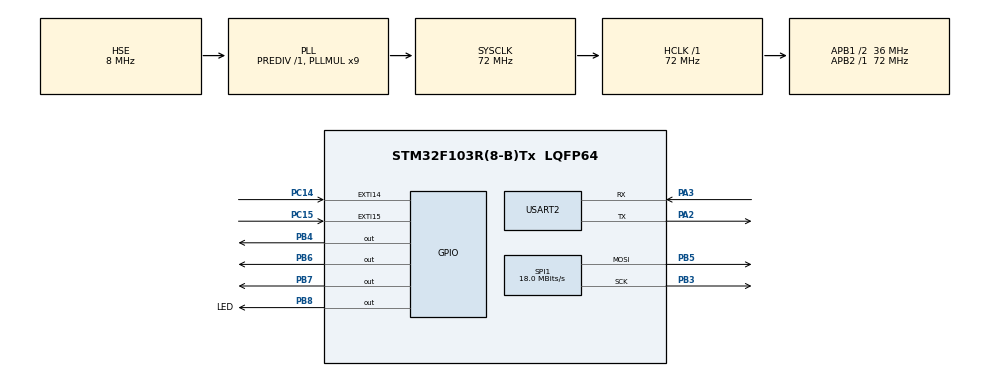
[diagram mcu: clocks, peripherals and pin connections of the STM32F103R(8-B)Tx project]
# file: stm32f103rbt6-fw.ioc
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Mcu.Family=STM32F1
Mcu.Name=STM32F103R(8-B)Tx
Mcu.Package=LQFP64
NVIC.EXTI15_10_IRQn=true\:0\:0\:false\:false\:true\:true\:true\:true
NVIC.PriorityGroup=NVIC_PRIORITYGROUP_4
PA13.Mode=Serial_Wire
PA13.Signal=SYS_JTMS-SWDIO
PA14.Mode=Serial_Wire
PA14.Signal=SYS_JTCK-SWCLK
PA2.Mode=Asynchronous
PA2.Signal=USART2_TX
PA3.Mode=Asynchronous
PA3.Signal=USART2_RX
PB3.Mode=TX_Only_Simplex_Unidirect_Master
PB3.Signal=SPI1_SCK
PB4.Signal=GPIO_Output
PB5.Mode=TX_Only_Simplex_Unidirect_Master
PB5.Signal=SPI1_MOSI
PB6.Signal=GPIO_Output
PB7.Signal=GPIO_Output
PB8.GPIO_Label=LED
PB8.Signal=GPIO_Output
PC14-OSC32_IN.GPIO_ModeDefaultEXTI=GPIO_MODE_IT_FALLING
PC14-OSC32_IN.GPIO_PuPd=GPIO_PULLUP
PC14-OSC32_IN.Signal=GPXTI14
PC15-OSC32_OUT.GPIO_ModeDefaultEXTI=GPIO_MODE_IT_FALLING
PC15-OSC32_OUT.GPIO_PuPd=GPIO_PULLUP
PC15-OSC32_OUT.Signal=GPXTI15
PD0-OSC_IN.Mode=HSE-External-Oscillator
PD0-OSC_IN.Signal=RCC_OSC_IN
PD1-OSC_OUT.Mode=HSE-External-Oscillator
PD1-OSC_OUT.Signal=RCC_OSC_OUT
ProjectManager.HeapSize=0x200
ProjectManager.StackSize=0x400
ProjectManager.TargetToolchain=Makefile
RCC.AHBFreq_Value=72000000
RCC.APB1CLKDivider=RCC_HCLK_DIV2
RCC.APB1Freq_Value=36000000
RCC.APB1TimFreq_Value=72000000
RCC.APB2Freq_Value=72000000
RCC.APB2TimFreq_Value=72000000
RCC.HCLKFreq_Value=72000000
RCC.PLLMUL=RCC_PLL_MUL9
RCC.PLLSourceVirtual=RCC_PLLSOURCE_HSE
RCC.SYSCLKFreq_VALUE=72000000
RCC.SYSCLKSource=RCC_SYSCLKSOURCE_PLLCLK
RCC.USBFreq_Value=72000000
SPI1.BaudRatePrescaler=SPI_BAUDRATEPRESCALER_4
SPI1.CalculateBaudRate=18.0 MBits/s
SPI1.Direction=SPI_DIRECTION_2LINES
SPI1.Mode=SPI_MODE_MASTER
SPI1.VirtualType=VM_MASTER
USART2.VirtualMode=VM_ASYNC
board=custom

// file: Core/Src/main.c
/* USER CODE BEGIN Header */
/**
 ******************************************************************************
 * @file           : main.c
 * @brief          : Main program body
 ******************************************************************************
 * @attention
 *
 * Copyright (c) 2023 STMicroelectronics.
 * All rights reserved.
 *
 * This software is licensed under terms that can be found in the LICENSE file
 * in the root directory of this software component.
 * If no LICENSE file comes with this software, it is provided AS-IS.
 *
 ******************************************************************************
 */
/* USER CODE END Header */
#include "main.h"

/* USER CODE BEGIN Includes */
#include <stdio.h>
#include <stdarg.h>
/* USER CODE END Includes */

SPI_HandleTypeDef hspi1;

UART_HandleTypeDef huart2;

/* USER CODE BEGIN PV */
uint8_t g_bKeyValue = 0;
/* USER CODE END PV */

void SystemClock_Config(void);
static void MX_GPIO_Init(void);
static void MX_USART2_UART_Init(void);
static void MX_SPI1_Init(void);

/* USER CODE BEGIN 0 */
int _write(int fd, char *ch, int len)
{
  HAL_UART_Transmit(&huart2, (uint8_t *)ch, len, 0xFFFF);
  return len;
}

int u_printf(const char *format, ...)
{
	char loc_buf[256];
	va_list arg;
	va_list copy;
	va_start(arg, format);
	va_copy(copy, arg);
	int len = vsnprintf(loc_buf, sizeof(loc_buf), format, copy);
	va_end(copy);
	va_end(arg);

	if (len > 0 && len <= 256)
	{
		HAL_UART_Transmit(&huart2, (uint8_t *)loc_buf, len, 0xFF);
	}
	return len;
}

#include "key.h"
#include "bmp.h"
#include "oled.h"
#include "stdlib.h"
#include "oledfont.h"
// OLED的显存
// 存放格式如下.
//[0]0 1 2 3 ... 127
//[1]0 1 2 3 ... 127
//[2]0 1 2 3 ... 127
//[3]0 1 2 3 ... 127
//[4]0 1 2 3 ... 127
//[5]0 1 2 3 ... 127
//[6]0 1 2 3 ... 127
//[7]0 1 2 3 ... 127

#if OLED_MODE == 1
// 向SSD1106写入一个字节。
// dat:要写入的数据/命令
// cmd:数据/命令标志 0,表示命令;1,表示数据;
void OLED_WR_Byte(u8 dat, u8 cmd)
{
  DATAOUT(dat);
  if (cmd)
    OLED_DC_Set();
  else
    OLED_DC_Clr();
  OLED_CS_Clr();
  OLED_WR_Clr();
  OLED_WR_Set();
  OLED_CS_Set();
  OLED_DC_Set();
}
#else
// 向SSD1106写入一个字节。
// dat:要写入的数据/命令
// cmd:数据/命令标志 0,表示命令;1,表示数据;
void OLED_WR_Byte(u8 dat, u8 cmd)
{
  if (cmd)
    OLED_DC_Set();
  else
    OLED_DC_Clr();
  OLED_CS_Clr();
  HAL_SPI_Transmit(&hspi1, &dat, 1, 0xFF);
//  for (u8 i = 0; i < 8; i++)
//  {
//    OLED_SCLK_Clr();
//    if (dat & 0x80)
//      OLED_SDIN_Set();
//    else
//      OLED_SDIN_Clr();
//    OLED_SCLK_Set();
//    dat <<= 1;
//  }
  OLED_CS_Set();
  OLED_DC_Set();
}
#endif

void OLED_Set_Pos(unsigned char x, unsigned char y)
{
  OLED_WR_Byte(0xb0 + y, OLED_CMD); // 设置页地址（0~7）
  OLED_WR_Byte(x & 0x0f, OLED_CMD); // 设置列地址的低地址
  OLED_WR_Byte(((x & 0xf0) >> 4) | 0x10, OLED_CMD); // 设置列地址的高地址
}

// 功能说明: 设置显示方向 _ucDir = 0 表示正常方向，1表示翻转180度
void OLED_SetDir(uint8_t _ucDir)
{
	if (_ucDir == 0)
	{
		OLED_WR_Byte(0xA0, OLED_CMD);	/* A0 ：列地址0映射到SEG0; A1 ：列地址127映射到SEG0 */
		OLED_WR_Byte(0xC0, OLED_CMD);	/* C0 ：正常扫描,从COM0到COM63;  C8 : 反向扫描, 从 COM63至 COM0 */
	}
	else
	{
		OLED_WR_Byte(0xA1, OLED_CMD);	/* A0 ：列地址0映射到SEG0; A1 ：列地址127映射到SEG0 */
		OLED_WR_Byte(0xC8, OLED_CMD);	/* C0 ：正常扫描,从COM0到COM63;  C8 : 反向扫描, 从 COM63至 COM0 */
	}
}

// 开启OLED显示
void OLED_Display_On(void)
{
  OLED_WR_Byte(0X8D, OLED_CMD); // SET DCDC命令
  OLED_WR_Byte(0X14, OLED_CMD); // DCDC ON
  OLED_WR_Byte(0XAF, OLED_CMD); // DISPLAY ON
}
// 关闭OLED显示
void OLED_Display_Off(void)
{
  OLED_WR_Byte(0X8D, OLED_CMD); // SET DCDC命令
  OLED_WR_Byte(0X10, OLED_CMD); // DCDC OFF
  OLED_WR_Byte(0XAE, OLED_CMD); // DISPLAY OFF
}

//屏幕旋转180度
void OLED_DisplayTurn(uint8_t i)
{
	if(i==0)
		{
			OLED_WR_Byte(0xC8,OLED_CMD);//正常显示
			OLED_WR_Byte(0xA1,OLED_CMD);
		}
	if(i==1)
		{
			OLED_WR_Byte(0xC0,OLED_CMD);//反转显示
			OLED_WR_Byte(0xA0,OLED_CMD);
		}
}

// 清屏函数,清完屏,整个屏幕是黑色的!和没点亮一样!!!
void OLED_Clear(void)
{
  u8 i, n;
  for (i = 0; i < 8; i++)
  {
    OLED_WR_Byte(0xb0 + i, OLED_CMD); // 设置页地址（0~7）
    OLED_WR_Byte(0x00, OLED_CMD);     // 设置显示位置—列低地址
    OLED_WR_Byte(0x10, OLED_CMD);     // 设置显示位置—列高地址
    for (n = 0; n < 128; n++)
      OLED_WR_Byte(0, OLED_DATA);
  } // 更新显示
}

// 在指定位置显示一个字符,包括部分字符
// x:0~127
// y:0~63
// mode:0,反白显示;1,正常显示
// size:选择字体 16/12
void OLED_ShowChar(u8 x, u8 y, u8 chr)
{
  unsigned char c = 0, i = 0;
  c = chr - ' '; // 得到偏移后的值
  if (x > Max_Column - 1)
  {
    x = 0;
    y = y + 2;
  }
  if (SIZE == 16)
  {
    OLED_Set_Pos(x, y);
    for (i = 0; i < 8; i++)
      OLED_WR_Byte(F8X16[c * 16 + i], OLED_DATA);
    OLED_Set_Pos(x, y + 1);
    for (i = 0; i < 8; i++)
      OLED_WR_Byte(F8X16[c * 16 + i + 8], OLED_DATA);
  }
  else
  {
    OLED_Set_Pos(x, y + 1);
    for (i = 0; i < 6; i++)
      OLED_WR_Byte(F6x8[c][i], OLED_DATA);
  }
}
// m^n函数
u32 oled_pow(u8 m, u8 n)
{
  u32 result = 1;
  while (n--)
    result *= m;
  return result;
}
// 显示2个数字
// x,y :起点坐标
// len :数字的位数
// size:字体大小
// mode:模式	0,填充模式;1,叠加模式
// num:数值(0~4294967295);
void OLED_ShowNum(u8 x, u8 y, u32 num, u8 len, u8 size)
{
  u8 t, temp;
  u8 enshow = 0;
  for (t = 0; t < len; t++)
  {
    temp = (num / oled_pow(10, len - t - 1)) % 10;
    if (enshow == 0 && t < (len - 1))
    {
      if (temp == 0)
      {
        OLED_ShowChar(x + (size / 2) * t, y, ' ');
        continue;
      }
      else
        enshow = 1;
    }
    OLED_ShowChar(x + (size / 2) * t, y, temp + '0');
  }
}
// 显示一个字符号串
void OLED_ShowString(u8 x, u8 y, u8 *chr)
{
  unsigned char j = 0;
  while (chr[j] != '\0')
  {
    OLED_ShowChar(x, y, chr[j]);
    x += 8;
    if (x > 120)
    {
      x = 0;
      y += 2;
    }
    j++;
  }
}
// 显示汉字
void OLED_ShowCHinese(u8 x, u8 y, u8 no)
{
  u8 t, adder = 0;
  OLED_Set_Pos(x, y);
  for (t = 0; t < 16; t++)
  {
    OLED_WR_Byte(Hzk[2 * no][t], OLED_DATA);
    adder += 1;
  }
  OLED_Set_Pos(x, y + 1);
  for (t = 0; t < 16; t++)
  {
    OLED_WR_Byte(Hzk[2 * no + 1][t], OLED_DATA);
    adder += 1;
  }
}
/***********功能描述：显示显示BMP图片128×64起始点坐标(x,y),x的范围0～127，y为页的范围0～7*****************/
void OLED_DrawBMP(unsigned char x0, unsigned char y0, unsigned char x1, unsigned char y1, unsigned char BMP[])
{
  unsigned int j = 0;
  unsigned char x, y;

  if (y1 % 8 == 0)
    y = y1 / 8;
  else
    y = y1 / 8 + 1;
  for (y = y0; y < y1; y++)
  {
    OLED_Set_Pos(x0, y);
    for (x = x0; x < x1; x++)
    {
      OLED_WR_Byte(BMP[j++], OLED_DATA);
    }
  }
}

/* 下面2个宏任选 1个; 表示显示方向 */
//#define DIR_NORMAL			/* 此行表示正常显示方向 */
#define DIR_180				/* 此行表示翻转180度 */

// 初始化SSD1306
void OLED_Init(void)
{
  OLED_RST_Set();

  // 仿真：初始化引脚值
  OLED_DC_Set();
  OLED_CS_Set();
  OLED_SCLK_Set();
  OLED_SDIN_Clr();

  HAL_Delay(100);
  OLED_RST_Clr();
  HAL_Delay(200);
  OLED_RST_Set();

  /* 模块厂家提供初始化代码 */
  OLED_WR_Byte(0xAE, OLED_CMD); /* 关闭OLED面板显示(休眠) */
  OLED_WR_Byte(0x00, OLED_CMD); /* 设置列地址低4bit */
  OLED_WR_Byte(0x10, OLED_CMD); /* 设置列地址高4bit */
  OLED_WR_Byte(0x40, OLED_CMD); /* 设置起始行地址（低5bit 0-63）， 硬件相关*/
  OLED_WR_Byte(0x81, OLED_CMD); /* 设置对比度命令(双字节命令），第1个字节是命令，第2个字节是对比度参数0-255 */
  OLED_WR_Byte(0xCF, OLED_CMD); /* 设置对比度参数,缺省CF */
#ifdef DIR_NORMAL
  OLED_WR_Byte(0xA0, OLED_CMD); /* A0 ：列地址0映射到SEG0; A1 ：列地址127映射到SEG0 */
  OLED_WR_Byte(0xC0, OLED_CMD); /* C0 ：正常扫描,从COM0到COM63;  C8 : 反向扫描, 从 COM63至 COM0 */
#endif
#ifdef DIR_180
  OLED_WR_Byte(0xA1, OLED_CMD); /* A0 ：列地址0映射到SEG0; A1 ：列地址127映射到SEG0 */
  OLED_WR_Byte(0xC8, OLED_CMD); /* C0 ：正常扫描,从COM0到COM63;  C8 : 反向扫描, 从 COM63至 COM0 */
#endif
  OLED_WR_Byte(0xA6, OLED_CMD); /* A6 : 设置正常显示模式; A7 : 设置为反显模式 */
  OLED_WR_Byte(0xA8, OLED_CMD); /* 设置COM路数 */
  OLED_WR_Byte(0x3F, OLED_CMD); /* 1 ->（63+1）路 */
  OLED_WR_Byte(0xD3, OLED_CMD); /* 设置显示偏移（双字节命令）*/
  OLED_WR_Byte(0x00, OLED_CMD); /* 无偏移 */
  OLED_WR_Byte(0xD5, OLED_CMD); /* 设置显示时钟分频系数/振荡频率 */
  OLED_WR_Byte(0x80, OLED_CMD); /* 设置分频系数,高4bit是分频系数，低4bit是振荡频率 */
  OLED_WR_Byte(0xD9, OLED_CMD); /* 设置预充电周期 */
  OLED_WR_Byte(0xF1, OLED_CMD); /* [3:0],PHASE 1; [7:4],PHASE 2; */
  OLED_WR_Byte(0xDA, OLED_CMD); /* 设置COM脚硬件接线方式 */
  OLED_WR_Byte(0x12, OLED_CMD);
  OLED_WR_Byte(0xDB, OLED_CMD); /* 设置 vcomh 电压倍率 */
  OLED_WR_Byte(0x40, OLED_CMD); /* [6:4] 000 = 0.65 x VCC; 0.77 x VCC (RESET); 0.83 x VCC  */
  OLED_WR_Byte(0x8D, OLED_CMD); /* 设置充电泵（和下个命令结合使用） */
  OLED_WR_Byte(0x14, OLED_CMD); /* 0x14 使能充电泵， 0x10 是关闭 */
  OLED_WR_Byte(0xAF, OLED_CMD); /* 打开OLED面板 */

  // OLED_Clear();
  // OLED_Set_Pos(0, 0);
}

void pixelTestFun()
{
	// 第一行，每行占8个像素点高，总共八行
  OLED_Set_Pos(0, 0);
  for (size_t i = 0; i < 128; i++)
  {
    OLED_WR_Byte(0xAA, OLED_DATA);
    HAL_Delay(30);
  }

	// 第二行，总共八行
  OLED_Set_Pos(0, 1);
  for (size_t i = 0; i < 128; i++)
  {
    OLED_WR_Byte(0xFF, OLED_DATA);
    HAL_Delay(30);
  }

	// 第三行，总共八行
  OLED_Set_Pos(0, 2);
  for (size_t i = 0; i < 128; i++)
  {
    OLED_WR_Byte(0x0F, OLED_DATA);
    HAL_Delay(30);
  }

	// 第四行，总共八行
  OLED_Set_Pos(0, 3);
  for (size_t i = 0; i < 128; i++)
  {
    OLED_WR_Byte(0x55, OLED_DATA);
    HAL_Delay(30);
  }
}

uint8_t getExtiKeyValue()
{
  uint8_t bKey = g_bKeyValue;
  g_bKeyValue = 0;
  return bKey;
}

/* USER CODE END 0 */

int main(void)
{

  /* MCU Configuration--------------------------------------------------------*/

  /* Reset of all peripherals, Initializes the Flash interface and the Systick. */
  HAL_Init();

  /* Configure the system clock */
  SystemClock_Config();

  /* Initialize all configured peripherals */
  MX_GPIO_Init();
  MX_USART2_UART_Init();
  MX_SPI1_Init();
  /* USER CODE BEGIN 2 */
  OLED_Init();
  OLED_DisplayTurn(1);
  // OLED_Clear();
  /* USER CODE END 2 */

  /* Infinite loop */
  /* USER CODE BEGIN WHILE */
  u_printf("hello, stm32f103rbt6, %f\r\n", 1.234);

  // 静态字符显示
  //OLED_ShowString(0, 0, (uint8_t *)"YUNFENG - OLED");
  //OLED_ShowString(0, 2, (uint8_t *)"abcdefg123456789");
  //OLED_ShowString(0, 4, (uint8_t *)__DATE__);
  //OLED_ShowString(0, 6, (uint8_t *)__TIME__);
  //HAL_Delay(5000);

  // 像素点测试
  // pixelTestFun();
  // HAL_Delay(5000);

  // 清屏，填充黑色
  OLED_Clear();

	// key_Config();
  unsigned char *oledBmpArray[] = {
                                  yunFengLogoWordHorizontal12864Bmp,
                                  yunFengLogoWordVertical12864Bmp,
                                 };
  unsigned char oledBmpIndex = 0;
  // 默认打开显示屏和灯，并且显示1次数据
  uint8_t bSendDataEn = 1;
  while (1)
  {
    /* USER CODE END WHILE */

    /* USER CODE BEGIN 3 */
    int userInput = getExtiKeyValue();
    // 非0值代表任意按键被按下
    if (userInput)
    {
      /**********begin**********/

      // 任意按键被按下，显示屏发送数据使能
      // bSendDataEn ...
      //////////////////////////////////////////////////////////////////// PS: The answer is as follows:

      bSendDataEn = 1;

      ////////////////////////////////////////////////////////////////////// PS: End of question answer.

      /***********end**********/

    }

    if (userInput == 1) // 对应板载KEY1，切换到上张图片
    {
        oledBmpIndex --;
        oledBmpIndex %= sizeof(oledBmpArray) / sizeof(oledBmpArray[0]);

    }
    else if (userInput == 2)
    {
        oledBmpIndex ++;
        oledBmpIndex %= sizeof(oledBmpArray) / sizeof(oledBmpArray[0]);
    }

    // 显示屏数据只发送一次，否则会占CPU，影响中断接收
    if (bSendDataEn)
    {
      bSendDataEn = 0;
      // 显示屏刷新
      OLED_DrawBMP(0, 0, 128, 8, oledBmpArray[oledBmpIndex]);
      HAL_GPIO_TogglePin(LED_GPIO_Port, LED_Pin);
    }
  }
  /* USER CODE END 3 */
}

void SystemClock_Config(void)
{
  RCC_OscInitTypeDef RCC_OscInitStruct = {0};
  RCC_ClkInitTypeDef RCC_ClkInitStruct = {0};

  /** Initializes the RCC Oscillators according to the specified parameters
  * in the RCC_OscInitTypeDef structure.
  */
  RCC_OscInitStruct.OscillatorType = RCC_OSCILLATORTYPE_HSE;
  RCC_OscInitStruct.HSEState = RCC_HSE_ON;
  RCC_OscInitStruct.HSEPredivValue = RCC_HSE_PREDIV_DIV1;
  RCC_OscInitStruct.HSIState = RCC_HSI_ON;
  RCC_OscInitStruct.PLL.PLLState = RCC_PLL_ON;
  RCC_OscInitStruct.PLL.PLLSource = RCC_PLLSOURCE_HSE;
  RCC_OscInitStruct.PLL.PLLMUL = RCC_PLL_MUL9;
  if (HAL_RCC_OscConfig(&RCC_OscInitStruct) != HAL_OK)
  {
    Error_Handler();
  }

  /** Initializes the CPU, AHB and APB buses clocks
  */
  RCC_ClkInitStruct.ClockType = RCC_CLOCKTYPE_HCLK|RCC_CLOCKTYPE_SYSCLK
                              |RCC_CLOCKTYPE_PCLK1|RCC_CLOCKTYPE_PCLK2;
  RCC_ClkInitStruct.SYSCLKSource = RCC_SYSCLKSOURCE_PLLCLK;
  RCC_ClkInitStruct.AHBCLKDivider = RCC_SYSCLK_DIV1;
  RCC_ClkInitStruct.APB1CLKDivider = RCC_HCLK_DIV2;
  RCC_ClkInitStruct.APB2CLKDivider = RCC_HCLK_DIV1;

  if (HAL_RCC_ClockConfig(&RCC_ClkInitStruct, FLASH_LATENCY_2) != HAL_OK)
  {
    Error_Handler();
  }
}

static void MX_SPI1_Init(void)
{

  /* SPI1 parameter configuration*/
  hspi1.Instance = SPI1;
  hspi1.Init.Mode = SPI_MODE_MASTER;
  hspi1.Init.Direction = SPI_DIRECTION_1LINE;
  hspi1.Init.DataSize = SPI_DATASIZE_8BIT;
  hspi1.Init.CLKPolarity = SPI_POLARITY_LOW;
  hspi1.Init.CLKPhase = SPI_PHASE_1EDGE;
  hspi1.Init.NSS = SPI_NSS_SOFT;
  hspi1.Init.BaudRatePrescaler = SPI_BAUDRATEPRESCALER_4;
  hspi1.Init.FirstBit = SPI_FIRSTBIT_MSB;
  hspi1.Init.TIMode = SPI_TIMODE_DISABLE;
  hspi1.Init.CRCCalculation = SPI_CRCCALCULATION_DISABLE;
  hspi1.Init.CRCPolynomial = 10;
  if (HAL_SPI_Init(&hspi1) != HAL_OK)
  {
    Error_Handler();
  }

}

static void MX_USART2_UART_Init(void)
{

  huart2.Instance = USART2;
  huart2.Init.BaudRate = 115200;
  huart2.Init.WordLength = UART_WORDLENGTH_8B;
  huart2.Init.StopBits = UART_STOPBITS_1;
  huart2.Init.Parity = UART_PARITY_NONE;
  huart2.Init.Mode = UART_MODE_TX_RX;
  huart2.Init.HwFlowCtl = UART_HWCONTROL_NONE;
  huart2.Init.OverSampling = UART_OVERSAMPLING_16;
  if (HAL_UART_Init(&huart2) != HAL_OK)
  {
    Error_Handler();
  }

}

static void MX_GPIO_Init(void)
{
  GPIO_InitTypeDef GPIO_InitStruct = {0};

  /* GPIO Ports Clock Enable */
  __HAL_RCC_GPIOC_CLK_ENABLE();
  __HAL_RCC_GPIOD_CLK_ENABLE();
  __HAL_RCC_GPIOA_CLK_ENABLE();
  __HAL_RCC_GPIOB_CLK_ENABLE();

  /*Configure GPIO pin Output Level */
  HAL_GPIO_WritePin(GPIOB, GPIO_PIN_4|GPIO_PIN_6|GPIO_PIN_7|LED_Pin, GPIO_PIN_RESET);

  /*Configure GPIO pins : PC14 PC15 */
  GPIO_InitStruct.Pin = GPIO_PIN_14|GPIO_PIN_15;
  GPIO_InitStruct.Mode = GPIO_MODE_IT_FALLING;
  GPIO_InitStruct.Pull = GPIO_PULLUP;
  HAL_GPIO_Init(GPIOC, &GPIO_InitStruct);

  /*Configure GPIO pins : PB4 PB6 PB7 LED_Pin */
  GPIO_InitStruct.Pin = GPIO_PIN_4|GPIO_PIN_6|GPIO_PIN_7|LED_Pin;
  GPIO_InitStruct.Mode = GPIO_MODE_OUTPUT_PP;
  GPIO_InitStruct.Pull = GPIO_NOPULL;
  GPIO_InitStruct.Speed = GPIO_SPEED_FREQ_LOW;
  HAL_GPIO_Init(GPIOB, &GPIO_InitStruct);

  /* EXTI interrupt init*/
  HAL_NVIC_SetPriority(EXTI15_10_IRQn, 0, 0);
  HAL_NVIC_EnableIRQ(EXTI15_10_IRQn);

}

/* USER CODE BEGIN 4 */
// 按键中断回调
void HAL_GPIO_EXTI_Callback(uint16_t GPIO_Pin)
{
	if (GPIO_Pin == GPIO_PIN_14)
	{
		g_bKeyValue = 1;
	}
	else if (GPIO_Pin == GPIO_PIN_15)
	{
		g_bKeyValue = 2;
	}
	u_printf("exti signal %x\r\n", GPIO_Pin);
}
/* USER CODE END 4 */

void Error_Handler(void)
{
  __disable_irq();
  while (1)
  {
  }
}

#ifdef  USE_FULL_ASSERT
/**
  * @brief  Reports the name of the source file and the source line number
  *         where the assert_param error has occurred.
  * @param  file: pointer to the source file name
  * @param  line: assert_param error line source number
  * @retval None
  */
void assert_failed(uint8_t *file, uint32_t line)
{
  /* USER CODE BEGIN 6 */
  /* User can add his own implementation to report the file name and line number,
     ex: printf("Wrong parameters value: file %s on line %d\r\n", file, line) */
  u_printf("Wrong parameters value: file %s on line %u\r\n", file, line);
  /* USER CODE END 6 */
}
#endif /* USE_FULL_ASSERT */
